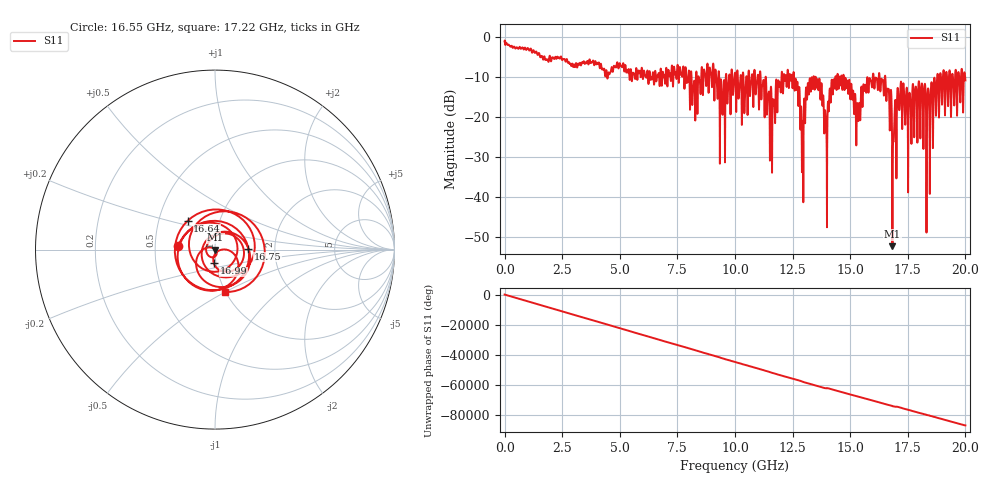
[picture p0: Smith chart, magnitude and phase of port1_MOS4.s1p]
! MS46122B
! 2250307/22442219
! 6/15/2025 11:00:36 AM
! C:\USERS\SPARKY\DOCUMENTS\VNA_DATA\JUNE15_2025\295K\PORT1_MOS4.S1P
! CHANNEL.1
! TR.MEASUREMENT
! RAW.DATA
# GHZ S RI R 50.0
! FREQ.GHZ  S11RE  S11IM
!; PortSelection: Port_1
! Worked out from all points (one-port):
!   10001 points, 1 MHz to 20 GHz, reference 50 ohm
!   lowest |S11| = -52.2 dB at 16.83 GHz (marker M1), VSWR 1.00, Z = 50.2 - j0.128 ohm
!   |S11| at or under -10 dB: 13.51 GHz to 14.36 GHz (847.7 MHz wide, 6.08 % of centre); 14.72 GHz to 15.74 GHz (1.016 GHz wide, 6.67 % of centre); 16.53 GHz to 18.77 GHz (2.246 GHz wide, 12.7 % of centre) (the widest 3 of 77)
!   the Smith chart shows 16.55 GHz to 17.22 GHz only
!   S11 on the Smith chart (normalised r, x): 16.55 GHz: 0.66, +0.03; 16.64 GHz: 0.70, +0.24; 16.75 GHz: 1.46, +0.02; 16.99 GHz: 0.98, -0.15; 17.22 GHz: 0.99, -0.50
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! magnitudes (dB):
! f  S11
! 1 MHz  -1.0
! 2.501 GHz  -5.7
! 5.001 GHz  -6.5
! 7.501 GHz  -7.0
! 8.983 GHz  -10.8
! 9.495 GHz  -13.9
! 10 GHz  -8.8
! 11.16 GHz  -13.1
! 11.59 GHz  -19.3
! 12.5 GHz  -12.6
! 12.92 GHz  -26.1
! 13.33 GHz  -10.0
! 13.67 GHz  -10.7
! 13.95 GHz  -21.9
! 14.28 GHz  -10.5
! 15 GHz  -15.2
! 15.35 GHz  -20.3
! 15.81 GHz  -11.6
! 16.55 GHz  -13.7
! 16.64 GHz  -13.1
! 16.75 GHz  -14.6
! 16.83 GHz  -52.2
! 16.99 GHz  -22.3
! 17.22 GHz  -12.3
! 17.5 GHz  -21.8
! 18.39 GHz  -12.8
! 18.85 GHz  -20.1
! 20 GHz  -10.8
